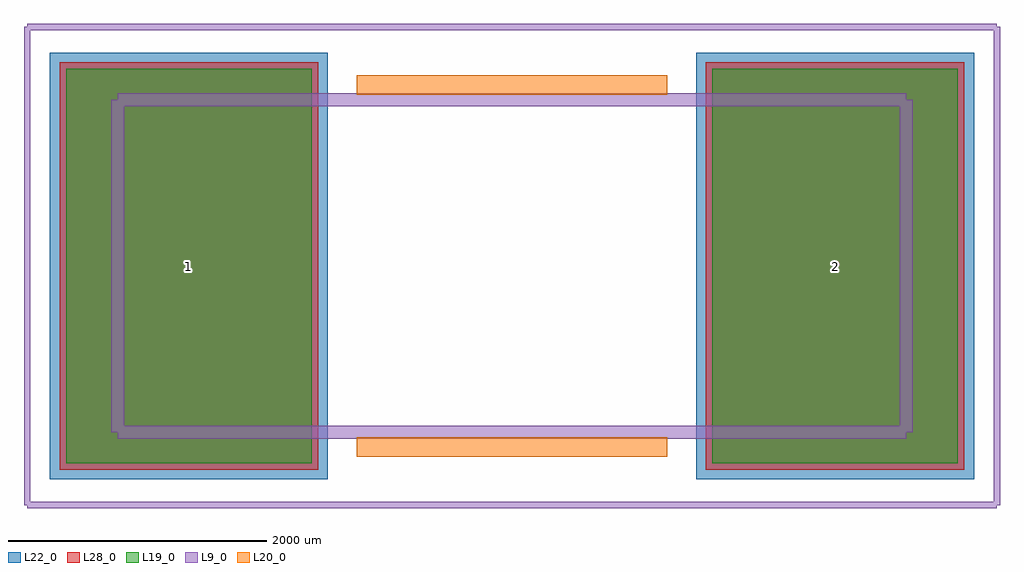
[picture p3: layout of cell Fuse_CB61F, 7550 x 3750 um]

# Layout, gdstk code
import gdstk
lib = gdstk.Library(unit=1e-6, precision=1e-09)
def R(c, l, rs):  # rectangles x0, y0, x1, y1
    for r in rs: c.add(gdstk.rectangle(r[:2], r[2:], *l))
L9_0 = (9, 0)
L19_0 = (19, 0)
L20_0 = (20, 0)
L22_0 = (22, 0)
L28_0 = (28, 0)

fuse_cb61f = lib.new_cell('Fuse_CB61F')
R(fuse_cb61f, L19_0, [(-3450,-1525,-1550,1525), (1550,-1525,3450,1525)])
R(fuse_cb61f, L22_0, [(-3575,-1650,-1425,1650), (1425,-1650,3575,1650)])
R(fuse_cb61f, L28_0, [(-3500,-1575,-1500,1575), (1500,-1575,3500,1575)])
fuse_cb61f.add(gdstk.FlexPath([(-3050,1285),(3050,1285)], 100, ends="flush", simple_path=True, layer=9, datatype=0))  # L9_0
fuse_cb61f.add(gdstk.FlexPath([(3050,1285),(3050,-1285)], 100, ends="flush", simple_path=True, layer=9, datatype=0))  # L9_0
fuse_cb61f.add(gdstk.FlexPath([(3050,-1285),(-3050,-1285)], 100, ends="flush", simple_path=True, layer=9, datatype=0))  # L9_0
fuse_cb61f.add(gdstk.FlexPath([(-3050,-1285),(-3050,1285)], 100, ends="flush", simple_path=True, layer=9, datatype=0))  # L9_0
fuse_cb61f.add(gdstk.FlexPath([(-1200,1400),(1200,1400)], 149.998, ends="flush", simple_path=True, layer=20, datatype=0))  # L20_0
fuse_cb61f.add(gdstk.FlexPath([(-1200,-1400),(1200,-1400)], 149.998, ends="flush", simple_path=True, layer=20, datatype=0))  # L20_0
fuse_cb61f.add(gdstk.FlexPath([(-3750,1850),(3750,1850)], 50, ends="flush", simple_path=True, layer=9, datatype=0))  # L9_0
fuse_cb61f.add(gdstk.FlexPath([(3750,1850),(3750,-1850)], 50, ends="flush", simple_path=True, layer=9, datatype=0))  # L9_0
fuse_cb61f.add(gdstk.FlexPath([(3750,-1850),(-3750,-1850)], 50, ends="flush", simple_path=True, layer=9, datatype=0))  # L9_0
fuse_cb61f.add(gdstk.FlexPath([(-3750,-1850),(-3750,1850)], 50, ends="flush", simple_path=True, layer=9, datatype=0))  # L9_0
fuse_cb61f.add(gdstk.Label('2', (2500,0), layer=28, texttype=0))
fuse_cb61f.add(gdstk.Label('1', (-2500,0), layer=28, texttype=0))
fuse_cb61f.add(gdstk.Label('type', (0,-2600), layer=9, texttype=0))
fuse_cb61f.add(gdstk.Label('devicename', (0,2600), layer=9, texttype=0))

lib.write_gds('Fuse_CB61F.gds')
